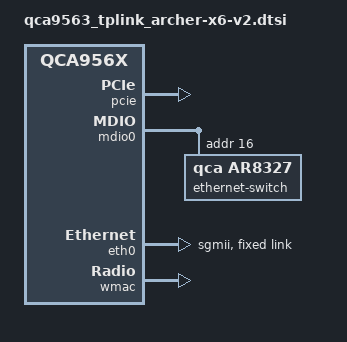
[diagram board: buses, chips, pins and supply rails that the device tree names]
// SPDX-License-Identifier: GPL-2.0-or-later OR MIT

#include "qca956x.dtsi"

#include <dt-bindings/gpio/gpio.h>
#include <dt-bindings/input/input.h>

&pcie {
	status = "okay";
};

&mdio0 {
	status = "okay";

	ethernet-switch@10 {
		compatible = "qca,ar8327";
		reg = <0x10>;
		qca,mib-poll-interval = <500>;

		qca,ar8327-initvals = <
			0x04 0x00080080 /* PORT0 PAD MODE CTRL */
			0x7c 0x0000007e /* PORT0_STATUS */
			>;
	};
};

&eth0 {
	status = "okay";

	phy-mode = "sgmii";

	fixed-link {
		speed = <1000>;
		full-duplex;
	};
};

&wmac {
	status = "okay";
};
